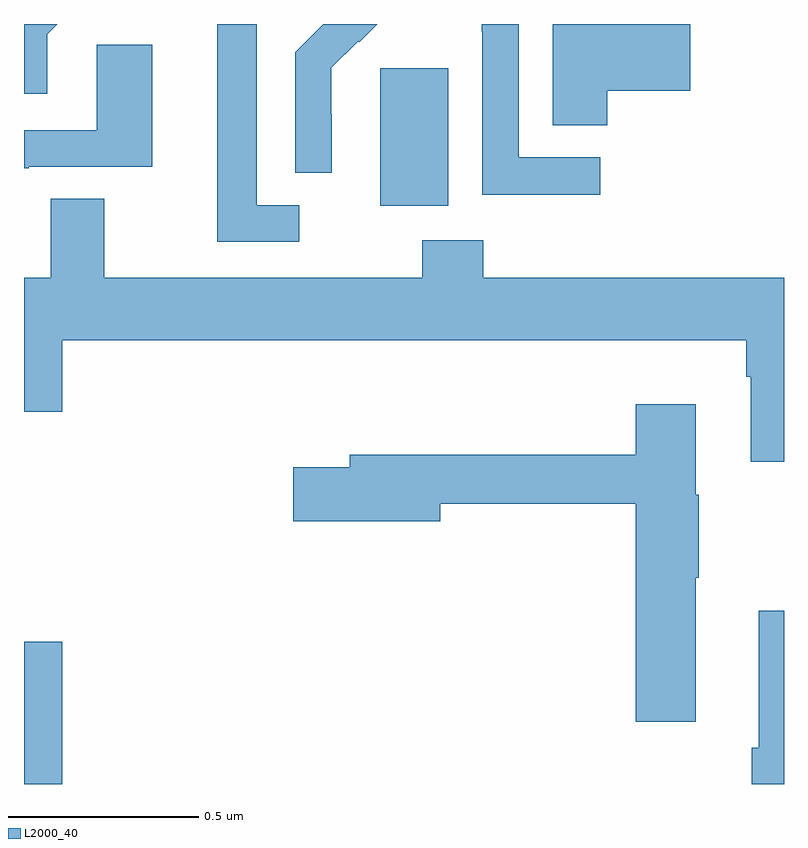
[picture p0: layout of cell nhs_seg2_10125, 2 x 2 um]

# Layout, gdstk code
import gdstk
lib = gdstk.Library(unit=1e-6, precision=1e-09)
def R(c, l, rs):  # rectangles x0, y0, x1, y1
    for r in rs: c.add(gdstk.rectangle(r[:2], r[2:], *l))
def P(c, l, *ps):  # polygons
    for p in ps: c.add(gdstk.Polygon(p, *l))
L2000_40 = (2000, 40)

nhs_seg2_10125 = lib.new_cell('nhs_seg2_10125')
R(nhs_seg2_10125, L2000_40, [(237,647.8,237.1,648.175), (237.938,649.322,238.117,649.683)])
P(nhs_seg2_10125, L2000_40, [(237.061,649.773),(237.088,649.8),(237,649.8),(237,649.617),(237.061,649.617)],
  [(237.724,649.323),(237.613,649.323),(237.613,649.8),(237.509,649.8),(237.509,649.227),(237.724,649.227)],
  [(238.535,649.625),(238.753,649.625),(238.753,649.8),(238.391,649.8),(238.391,649.534),(238.535,649.534)],
  [(237.81,649.562),(237.809,649.562),(237.809,649.685),(237.879,649.755),(237.882,649.752),(237.93,649.8),(237.786,649.8),(237.787,649.799),(237.714,649.726),(237.714,649.408),(237.81,649.408)],
  [(238.516,649.449),(238.302,649.449),(238.302,649.8),(238.204,649.8),(238.204,649.78),(238.206,649.78),(238.206,649.351),(238.516,649.351)],
  [(237.013,649.425),(237.337,649.425),(237.337,649.745),(237.192,649.745),(237.192,649.521),(237,649.521),(237,649.421),(237.013,649.421)],
  [(239,649.132),(238.208,649.132),(238.208,649.231),(238.048,649.231),(238.048,649.132),(237.211,649.132),(237.211,649.34),(237.071,649.34),(237.071,649.132),(237,649.132),(237,648.78),(237.1,648.78),(237.1,648.968),(238.901,648.968),(238.901,648.872),(238.913,648.872),(238.913,648.648),(239,648.648)],
  [(238.768,648.343),(238.776,648.343),(238.776,648.561),(238.768,648.561),(238.768,648.799),(238.61,648.799),(238.61,648.667),(237.857,648.667),(237.857,648.633),(237.708,648.633),(237.708,648.491),(238.096,648.491),(238.096,648.538),(238.61,648.538),(238.61,647.964),(238.768,647.964)],
  [(239,648.256),(238.934,648.256),(238.934,647.896),(238.915,647.896),(238.915,647.8),(239,647.8)])

lib.write_gds('nhs_seg2_10125.gds')
